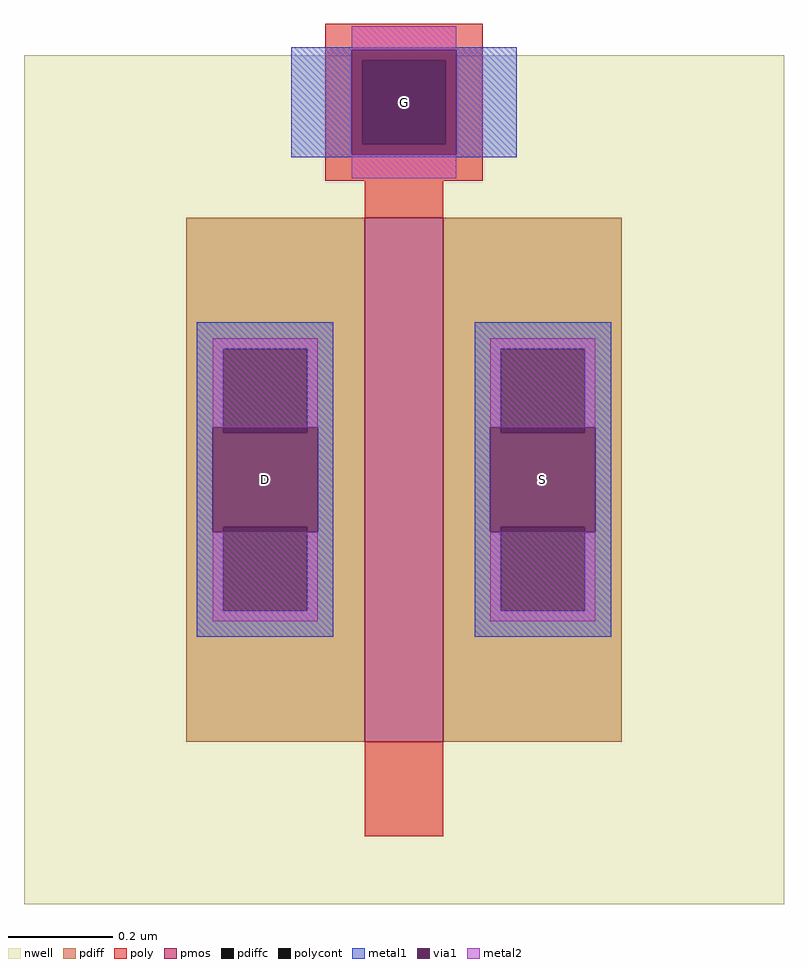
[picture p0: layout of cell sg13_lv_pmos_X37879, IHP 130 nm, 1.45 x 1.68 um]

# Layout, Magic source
magic
tech ihp-sg13g2
magscale 1 2
<< nwell >>
rect -145 -181 145 143
<< pmos >>
rect -15 -119 15 81
<< pdiff >>
rect -83 31 -15 81
rect -83 -1 -69 31
rect -37 -1 -15 31
rect -83 -37 -15 -1
rect -83 -69 -69 -37
rect -37 -69 -15 -37
rect -83 -119 -15 -69
rect 15 31 83 81
rect 15 -1 37 31
rect 69 -1 83 31
rect 15 -37 83 -1
rect 15 -69 37 -37
rect 69 -69 83 -37
rect 15 -119 83 -69
<< pdiffc >>
rect -69 -1 -37 31
rect -69 -69 -37 -37
rect 37 -1 69 31
rect 37 -69 69 -37
<< poly >>
rect -30 141 30 155
rect -30 109 -16 141
rect 16 109 30 141
rect -30 95 30 109
rect -15 81 15 95
rect -15 -155 15 -119
<< polycont >>
rect -16 109 16 141
<< metal1 >>
rect -43 145 43 146
rect -43 105 -20 145
rect 20 105 43 145
rect -43 104 43 105
rect -79 31 -27 41
rect -79 1 -69 31
rect -37 1 -27 31
rect -79 -39 -73 1
rect -33 -39 -27 1
rect -79 -69 -69 -39
rect -37 -69 -27 -39
rect -79 -79 -27 -69
rect 27 31 79 41
rect 27 1 37 31
rect 69 1 79 31
rect 27 -39 33 1
rect 73 -39 79 1
rect 27 -69 37 -39
rect 69 -69 79 -39
rect 27 -79 79 -69
<< via1 >>
rect -20 141 20 145
rect -20 109 -16 141
rect -16 109 16 141
rect 16 109 20 141
rect -20 105 20 109
rect -73 -1 -69 1
rect -69 -1 -37 1
rect -37 -1 -33 1
rect -73 -37 -33 -1
rect -73 -39 -69 -37
rect -69 -39 -37 -37
rect -37 -39 -33 -37
rect 33 -1 37 1
rect 37 -1 69 1
rect 69 -1 73 1
rect 33 -37 73 -1
rect 33 -39 37 -37
rect 37 -39 69 -37
rect 69 -39 73 -37
<< metal2 >>
rect -20 145 20 154
rect -20 96 20 105
rect -73 1 -33 35
rect -73 -73 -33 -39
rect 33 1 73 35
rect 33 -73 73 -39
<< labels >>
rlabel metal1 s -53 -19 -53 -19 4 D
rlabel metal1 s 53 -19 53 -19 4 S
rlabel metal1 s 0 125 0 125 4 G
<< end >>
